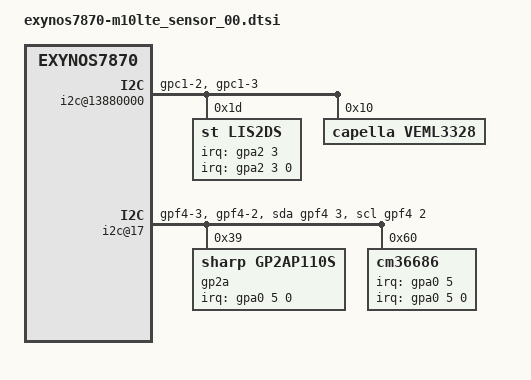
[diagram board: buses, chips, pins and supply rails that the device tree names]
/*
 * Copyright (c) 2012-2013, The Linux Foundation. All rights reserved.
 *
 * This program is free software; you can redistribute it and/or modify
 * it under the terms of the GNU General Public License version 2 and
 * only version 2 as published by the Free Software Foundation.
 *
 * This program is distributed in the hope that it will be useful,
 * but WITHOUT ANY WARRANTY; without even the implied warranty of
 * MERCHANTABILITY or FITNESS FOR A PARTICULAR PURPOSE.  See the
 * GNU General Public License for more details.
 */

/ {
	pinctrl@139F0000 {
		acc_int: acc_int {
			samsung,pins = "gpa2-3";
			samsung,pin-function = <0xf>;
			samsung,pin-pud = <0>;
			samsung,pin-drv = <0>;
		};

		prox_int: prox_int {
			samsung,pins = "gpa0-5";
			samsung,pin-function = <0xf>;
			samsung,pin-pud = <0>;
			samsung,pin-drv = <0>;
		};
	};

	pinctrl@139B0000 {
		accel_i2c: accel_i2c {
			samsung,pins = "gpc1-2", "gpc1-3";
			samsung,pin-function = <2>;
			samsung,pin-pud = <0>;
		};

		proxy_light_i2c: proxy_light_i2c {
			samsung,pins = "gpf4-3", "gpf4-2";
			samsung,pin-function = <2>;
			samsung,pin-pud = <0>;
		};
	};

	i2c@13880000 {
		samsung,i2c-sda-delay = <100>;
		samsung,i2c-max-bus-freq = <400000>;
		status = "okay";
		#address-cells = <1>;
		#size-cells = <0>;
		pinctrl-names = "default";
		pinctrl-0 = <&accel_i2c>;

		lis2ds@1D {
			compatible = "st,lis2ds";
			reg = <0x1D>;
			pinctrl-names = "default";
			pinctrl-0 = <&acc_int>;
			interrupt-parent = <&gpa2>;
			interrupts = <3 0 0>;
			st,orientation = <2 1 1 1 0 1 1 1 2>;
			st,drdy-int-pin = <1>;
			st,irq_gpio = <&gpa2 3 0x00>;
		};

		veml3328@10 {
			compatible = "capella,veml3328";
			reg = <0x10>;
		};
	};

	i2c@17 {
		compatible = "i2c-gpio";
		gpios = <&gpf4 3 0 /* sda */
				&gpf4 2 0 /* scl */>;
		i2c-gpio,delay-us = <2>;
		i2c-gpio,scl-output-only;
		#address-cells = <1>;
		#size-cells = <0>;
		status = "okay";
		pinctrl-names = "default";
		pinctrl-0 = <&proxy_light_i2c>;

		gp2a@39 {
			compatible = "sharp,gp2ap110s";
			reg = <0x39>;
			pinctrl-names = "default";
			pinctrl-0 = <&prox_int>;
			interrupt-parent = <&gpa0>;
			interrupts = <5 0 0>;
			gp2ap110s,led_reg_val_1 = <0x14>;
			gp2ap110s,ps_high_th_1 = <500>;
			gp2ap110s,ps_low_th_1 = <350>;
			gp2ap110s,led_reg_val_2 = <0x24>; /* If proximity close detection test fails */
			gp2ap110s,ps_high_th_2 = <550>;
			gp2ap110s,ps_low_th_2 = <380>;
			gp2ap110s,settings_thd_low = <130>;
			gp2ap110s,settings_thd_high = <500>;
			gp2ap110s,gpio_int = <&gpa0 5 0>;
		};

		cm36686@60 {
			compatible = "cm36686";
			reg = <0x60>;
			pinctrl-names = "default";
			pinctrl-0 = <&prox_int>;
			interrupt-parent = <&gpa0>;
			interrupts = <5 0 0>;
			cm36686,irq_gpio = <&gpa0 5 0x00>;
			cm36686,ps_conf1 = <0x03a4>;
			cm36686,ps_conf3 = <0x4410>;
			cm36686,default_hi_thd = <15>;
			cm36686,default_low_thd = <9>;
			cm36686,cancel_hi_thd = <12>;
			cm36686,cancel_low_thd = <7>;
			cm36686,cal_skip_adc = <6>;
			cm36686,cal_fail_adc = <20>;
			cm36686,default_trim = <3>;
		};
	};
};
